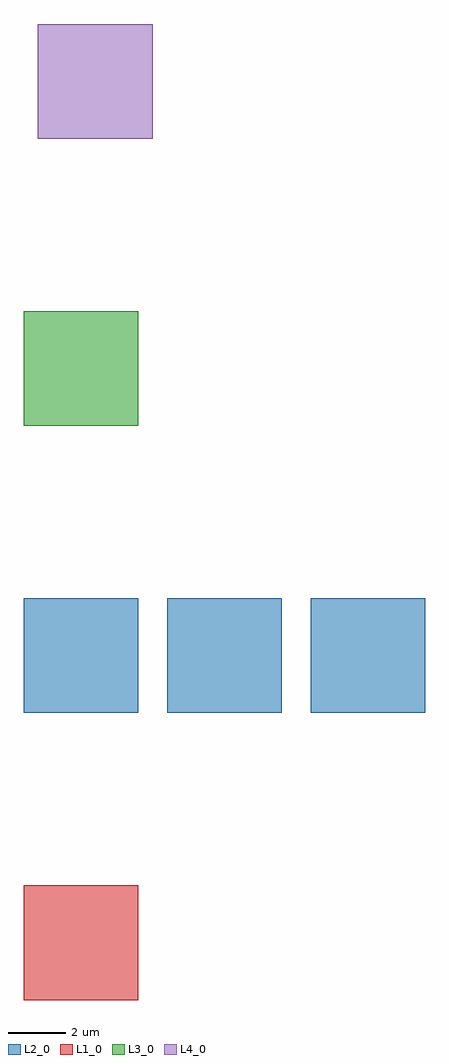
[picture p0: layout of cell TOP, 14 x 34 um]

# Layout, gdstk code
import gdstk
lib = gdstk.Library(unit=1e-6, precision=1e-09)
def R(c, l, rs):  # rectangles x0, y0, x1, y1
    for r in rs: c.add(gdstk.rectangle(r[:2], r[2:], *l))
def A(c, l, x, y, w, h, nx, ny, dx, dy):  # array of equal rectangles
    R(c, l, [(x+i*dx, y+j*dy, x+i*dx+w, y+j*dy+h) for i in range(nx) for j in range(ny)])
L1_0 = (1, 0)
L2_0 = (2, 0)
L3_0 = (3, 0)
L4_0 = (4, 0)

top = lib.new_cell('TOP')
R(top, L1_0, [(0,0,4,4)])
A(top, L2_0, 0, 10, 4, 4, 3, 1, 5, 0)
R(top, L3_0, [(0,20,4,24)])
R(top, L4_0, [(0.5,30,4.5,34)])

lib.write_gds('TOP.gds')
